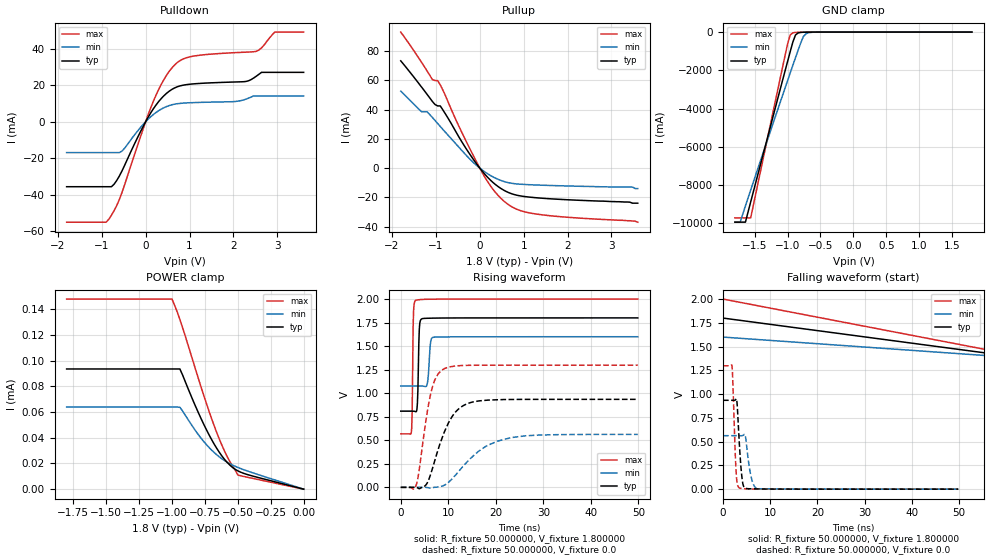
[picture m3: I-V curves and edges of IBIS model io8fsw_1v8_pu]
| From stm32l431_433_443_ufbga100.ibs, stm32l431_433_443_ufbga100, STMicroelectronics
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|   Model io8fsw_1v8_pu
[Model]  io8fsw_1v8_pu
Model_type I/O
Polarity   Non-Inverting
Enable   Active-Low
Vinl =   0.540000V
Vinh =   1.260000V
Vmeas =  0.900000V
Cref =   100.000000nF
Rref =   1.000000k
Vref =   1.800000V
C_comp   2.845500pF   2.787900pF   2.994700pF
[Temperature Range]   25.000000   0.125000k   -40.000000
[Pullup Reference]   1.800000V   1.600000V   2.000000V
[Pulldown Reference]   0.0V   0.0V   0.0V
[POWER Clamp Reference]   1.800000V   1.600000V   2.000000V
[GND Clamp Reference]   0.0V   0.0V   0.0V
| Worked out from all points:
|   slope of the pulldown table from 0 to 0.27 V, typ, clamps not added: 26.4 ohm
|   slope of the pullup table from 0 to 0.27 V, typ, clamps not added: 30.1 ohm
|   GND clamp passes 1 mA (typ) near -0.58 V on its own axis
|   rising waveform, R_fixture 50.000000, V_fixture 1.800000: 20-80 % time 263ps typ, 403ps min, 195ps max; typ from 0.81 V to 1.8 V
|   rising waveform, R_fixture 50.000000, V_fixture 0.0: 20-80 % time 4.16ns typ, 7.28ns min, 2.44ns max; typ from 0.001 V to 0.935 V
|   falling waveform, R_fixture 50.000000, V_fixture 1.800000: 20-80 % time 90.1ns typ, 90.1ns min, 90.1ns max; typ from 1.8 V to 0.81 V
|   falling waveform, R_fixture 50.000000, V_fixture 0.0: 20-80 % time 716ps typ, 1.03ns min, 554ps max; typ from 0.935 V to 0.001 V
[Pulldown]
|Voltage   I(typ)   I(min)   I(max)
-1.8V     -35.64mA   -16.93mA   -55.1mA
-840mV    -35.64mA   -16.93mA   -53.52mA
-720mV    -34.31mA   -16.93mA   -48.86mA
-540mV    -27.04mA   -16.13mA   -38.89mA
240mV     9.303mA    5.14mA     14.78mA
480mV     15.67mA    8.374mA    25.64mA
720mV     19.18mA    9.883mA    32.46mA
1.14V     20.87mA    10.54mA    36.19mA
2.28V     22.08mA    12.36mA    38.18mA
2.52V     24.97mA    14.17mA    38.63mA
2.94V     27.1mA     14.17mA    49.19mA
3.6V      27.1mA     14.17mA    49.19mA
[Pullup]
|Voltage   I(typ)   I(min)   I(max)
-1.8V     73.36mA    52.61mA    93.01mA
-1.32V    55.18mA    38.47mA    72.06mA
-1.2V     50.42mA    38.47mA    66.41mA
-1.08V    45.59mA    34.64mA    60.59mA
-960mV    42.52mA    30.5mA     59.86mA
-900mV    42.52mA    28.46mA    56.93mA
60mV      -2.268mA   -1.401mA   -3.341mA
300mV     -9.801mA   -6.008mA   -14.46mA
600mV     -15.96mA   -9.582mA   -23.81mA
900mV     -18.89mA   -10.98mA   -28.81mA
1.32V     -20.37mA   -11.6mA    -31.56mA
3.6V      -24mA      -14mA      -37mA
[GND_clamp]
|Voltage   I(typ)   I(min)   I(max)
-1.8V     -9.93A     -9.932A    -9.707A
-1.72V    -9.93A     -9.932A    -9.707A
-1.64V    -9.93A     -9.083A    -9.707A
-1.56V    -8.876A    -8.251A    -9.707A
-1V       -1.54A     -2.541A    -631mA
-960mV    -1.028A    -2.139A    -153.7mA
-920mV    -527mA     -1.74A     -39.12mA
-880mV    -155.6mA   -1.344A    -18.01mA
-840mV    -45.32mA   -953mA     -12.68mA
-760mV    -8.418mA   -235mA     -7.62mA
-680mV    -3.44mA    -33.01mA   -3.865mA
1.8V      0A         0A         0A
[POWER_clamp]
|Voltage   I(typ)   I(min)   I(max)
-1.8V     93.65uA    63.98uA    148.1uA
-1V       93.65uA    63.98uA    148.1uA
-940mV    93.65uA    63.82uA    132.2uA
-780mV    55.19uA    39.85uA    79.88uA
-720mV    42.64uA    32.64uA    61.13uA
-680mV    35.2uA     28.59uA    49.56uA
-640mV    28.65uA    25.14uA    38.93uA
-600mV    23.11uA    22.24uA    29.46uA
-560mV    18.7uA     19.84uA    21.37uA
-500mV    14.28uA    16.96uA    11.08uA
-400mV    10.58uA    13.2uA     8.679uA
0V        0A         0A         0A
[Ramp]
| variable   typ   min   max
dV/dt_r  0.56073/4.16234n   0.33715/7.27666n   0.77863/2.43658n
dV/dt_f  0.59411/4.18966n   0.31416/7.39912n   0.85870/2.28975n
R_load = 50.000000
[Rising Waveform]
R_fixture= 50.000000
V_fixture= 1.800000
V_fixture_min= 1.600000
V_fixture_max= 2.000000
|time   V(typ)   V(min)   V(max)
0s        809.8mV    1.076V     568.8mV
2.202ns   809.8mV    1.076V     576.1mV
2.402ns   809.8mV    1.076V     803.1mV
2.703ns   809.5mV    1.076V     1.881V
3.203ns   803.1mV    1.077V     1.988V
3.504ns   893.7mV    1.077V     1.991V
3.904ns   1.683V     1.077V     1.993V
4.505ns   1.792V     1.076V     1.996V
6.807ns   1.797V     1.593V     1.999V
49.85ns   1.8V       1.6V       2V
[Rising Waveform]
R_fixture= 50.000000
V_fixture= 0.0
V_fixture_min= 0.0
V_fixture_max= 0.0
|time   V(typ)   V(min)   V(max)
0s        727.6uV    1.154mV    483.6uV
2.603ns   744uV      1.154mV    -18.53mV
3.303ns   -891.9uV   1.154mV    32.87mV
5.205ns   21.17mV    1.13mV     679.6mV
6.406ns   158.5mV    -6.797mV   1.016V
7.508ns   345mV      2.722mV    1.176V
9.209ns   593mV      24.57mV    1.263V
12.91ns   861.2mV    213.3mV    1.294V
20.32ns   930.8mV    490.9mV    1.298V
49.85ns   935.3mV    563.1mV    1.298V
[Falling Waveform]
R_fixture= 50.000000
V_fixture= 1.800000
V_fixture_min= 1.600000
V_fixture_max= 2.000000
|time   V(typ)   V(min)   V(max)
0s        1.8V       1.6V       2V
150.2ns   809.8mV    1.076V     568.8mV
900.9ns   809.8mV    1.076V     568.8mV
14.86us   809.8mV    1.076V     568.8mV
[Falling Waveform]
R_fixture= 50.000000
V_fixture= 0.0
V_fixture_min= 0.0
V_fixture_max= 0.0
|time   V(typ)   V(min)   V(max)
0s        935.3mV    563.1mV    1.298V
1.902ns   935.3mV    563.1mV    1.303V
2.803ns   951.9mV    563.1mV    158.9mV
3.003ns   886.5mV    563.1mV    60.03mV
3.504ns   440.6mV    562.8mV    12.93mV
4.004ns   126.6mV    562.8mV    7.408mV
4.404ns   26.29mV    572.8mV    5.958mV
6.106ns   4.362mV    100.5mV    1.849mV
7.207ns   3.449mV    7.088mV    1.374mV
49.85ns   727.6uV    1.154mV    483.6uV
